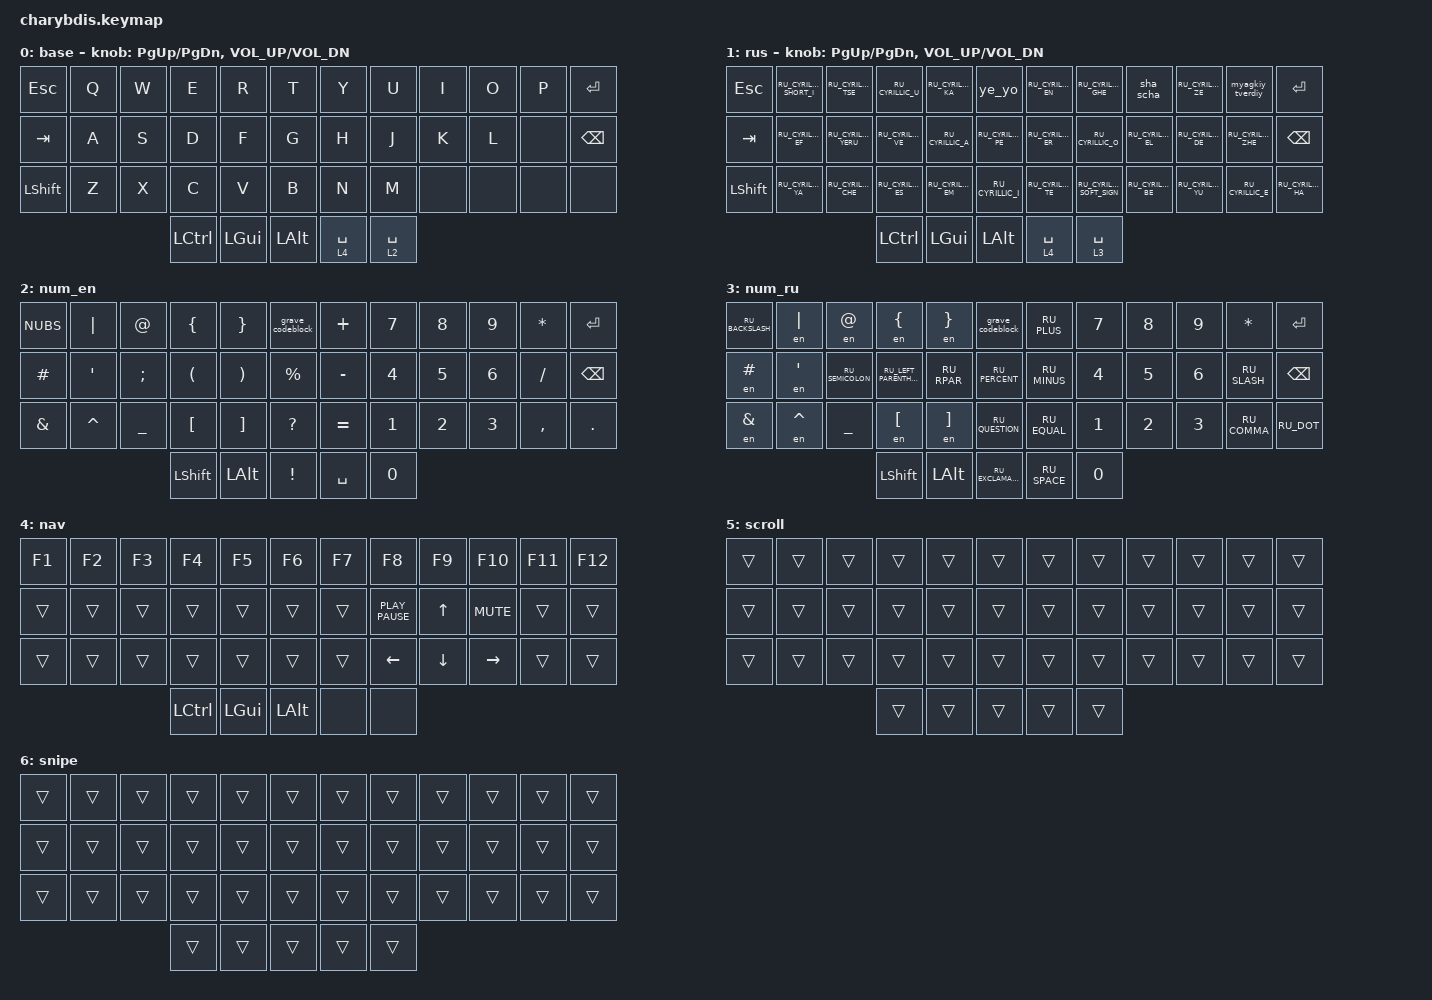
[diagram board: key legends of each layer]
#include "keys_ru.h"
#include <behaviors.dtsi>
#include <dt-bindings/zmk/keys.h>
#include <dt-bindings/zmk/pointing.h>

&lt {
    tapping-term-ms = <200>;
    flavor = "balanced";
    quick-tap-ms = <150>;
};

/ {
    unicode {
        compatible = "zmk,unicode";
        #address-cells = <1>;
        #size-cells = <0>;

        en_dash: en_dash {
            unicode = <0x2013>; /* – */
        };

        laquo: laquo {
            unicode = <0x00AB>; /* « */
        };

        raquo: raquo {
            unicode = <0x00BB>; /* » */
        };
    };

    combos {
        compatible = "zmk,combos";

        CapsWord {
            bindings = <&caps_word>;
            key-positions = <17 18>;
            layers = <0>;
        };

        combo_left_click {
            bindings = <&mkp LCLK>;
            key-positions = <31 32>;
        };

        combo_middle_click {
            bindings = <&mkp MCLK>;
            key-positions = <32 33>;
        };

        combo_right_click {
            bindings = <&mkp RCLK>;
            key-positions = <34 33>;
        };

        scroll {
            bindings = <&tog 5>;
            key-positions = <31 33>;
        };

        snipe {
            bindings = <&tog 6>;
            key-positions = <34 32>;
        };

        num_en {
            bindings = <&tog 2>;
            key-positions = <39 40>;
            layers = <0 2>;
        };

        num_ru {
            bindings = <&tog 3>;
            key-positions = <39 40>;
            layers = <1 3>;
        };

        combo_caps {
            bindings = <&kp CAPS>;
            key-positions = <13 14>;
        };

        combo_to_en_layer {
            bindings = <&to_en_layer>;
            key-positions = <24 38>;
            layers = <1>;
        };

        combo_to_ru_layer {
            bindings = <&to_ru_layer>;
            key-positions = <24 38>;
            layers = <0>;
        };
    };

    macros {
        triple_grave: triple_grave {
            compatible = "zmk,behavior-macro";
            #binding-cells = <0>;
            bindings = <&kp GRAVE &kp GRAVE &kp GRAVE>;
            label = "TRIPLE_GRAVE";
        };

        code_block: code_block {
            compatible = "zmk,behavior-macro";
            #binding-cells = <0>;
            bindings = <&kp GRAVE &kp GRAVE &kp GRAVE &kp ENTER &kp ENTER &kp GRAVE &kp GRAVE &kp GRAVE &kp LEFT &kp LEFT &kp LEFT &kp LEFT>;
            label = "CODE_BLOCK";
        };

        to_ru: to_ru {
            compatible = "zmk,behavior-macro";
            #binding-cells = <0>;
            bindings = <&kp LG(SPACE)>;
            label = "TO_RU";
        };

        to_en: to_en {
            compatible = "zmk,behavior-macro";
            #binding-cells = <0>;
            bindings = <&kp LG(SPACE)>;
            label = "TO_EN";
        };

        en: en {
            compatible = "zmk,behavior-macro-one-param";
            #binding-cells = <1>;
            bindings =
                <&to_en>,
                <&macro_press>,
                <&macro_param_1to1 &kp MACRO_PLACEHOLDER>,
                <&macro_pause_for_release>,
                <&macro_release>,
                <&macro_param_1to1 &kp MACRO_PLACEHOLDER>,
                <&macro_tap>,
                <&to_ru>;

            label = "EN";
        };

        to_en_layer: to_en_layer {
            compatible = "zmk,behavior-macro";
            #binding-cells = <0>;
            bindings =
                <&macro_press>,
                <&kp LEFT_GUI>,
                <&macro_press>,
                <&kp SPACE>,
                <&macro_pause_for_release>,
                <&macro_release>,
                <&kp SPACE>,
                <&macro_release>,
                <&kp LEFT_GUI>,
                <&macro_pause_for_release>,
                <&to 0>;

            label = "TO_EN_LAYER";
        };

        to_ru_layer: to_ru_layer {
            compatible = "zmk,behavior-macro";
            #binding-cells = <0>;
            bindings =
                <&macro_press>,
                <&kp LGUI>,
                <&macro_press>,
                <&kp SPACE>,
                <&macro_pause_for_release>,
                <&macro_release>,
                <&kp SPACE>,
                <&macro_release>,
                <&kp LGUI>,
                <&macro_pause_for_release>,
                <&to 1>;

            label = "TO_RU_LAYER";
        };

        old: old {
            compatible = "zmk,behavior-macro";
            #binding-cells = <0>;
            bindings =
                <&macro_press>,
                <&kp LEFT_ALT>,
                <&macro_press>,
                <&kp LEFT_SHIFT>,
                <&macro_pause_for_release>,
                <&macro_release>,
                <&kp LEFT_SHIFT>,
                <&macro_release>,
                <&kp LEFT_ALT &to 0>;

            label = "OLD";
        };
    };

    behaviors {
        alt_to_caps: alt_to_caps {
            compatible = "zmk,behavior-tap-dance";
            label = "ALT_TO_CAPS";
            #binding-cells = <0>;
            bindings = <&kp LEFT_ALT>, <&caps_word>;
        };

        myagkiy_tverdiy: myagkiy_tverdiy {
            compatible = "zmk,behavior-tap-dance";
            label = "MYAGKIY_TVERDIY";
            #binding-cells = <0>;
            bindings = <&kp RU_CYRILLIC_SOFT_SIGN>, <&kp RU_CYRILLIC_HARD_SIGN>;
        };

        sha_scha: sha_scha {
            compatible = "zmk,behavior-tap-dance";
            label = "SHA_SCHA";
            #binding-cells = <0>;
            bindings = <&kp RU_CYRILLIC_SHA>, <&kp RU_CYRILLIC_SHCHA>;
        };

        ye_yo: ye_yo {
            compatible = "zmk,behavior-tap-dance";
            label = "YE_YO";
            #binding-cells = <0>;
            bindings = <&kp RU_CYRILLIC_IE>, <&kp RU_CYRILLIC_IO>;
        };

        E_HE: E_HE {
            compatible = "zmk,behavior-tap-dance";
            label = "E_HE";
            #binding-cells = <0>;
            bindings = <&kp RU_CYRILLIC_E>, <&kp RU_CYRILLIC_HA>;
        };

        grave_codeblock: grave_codeblock {
            compatible = "zmk,behavior-tap-dance";
            label = "GRAVE_CODEBLOCK";
            #binding-cells = <0>;
            bindings = <&kp GRAVE>, <&triple_grave>, <&code_block>;
        };

        shift_to_ru_layer: shift_to_ru_layer {
            compatible = "zmk,behavior-mod-morph";
            label = "SHIFT_TO_RU_LAYER";
            bindings = <&kp LEFT_SHIFT>, <&to_ru_layer>;

            #binding-cells = <0>;
            mods = <(MOD_LALT)>;
        };

        shift_to_en_layer: shift_to_en_layer {
            compatible = "zmk,behavior-mod-morph";
            label = "SHIFT_TO_EN_LAYER";
            bindings = <&kp LEFT_SHIFT>, <&to_en_layer>;

            #binding-cells = <0>;
            mods = <(MOD_LALT)>;
        };
    };

    keymap {
        compatible = "zmk,keymap";

        base {
            bindings = <
&kp ESCAPE      &kp Q  &kp W  &kp E      &kp R     &kp T           &kp Y        &kp U        &kp I  &kp O  &kp P  &kp ENTER
&kp TAB         &kp A  &kp S  &kp D      &kp F     &kp G           &kp H        &kp J        &kp K  &kp L  &none  &kp BACKSPACE
&kp LEFT_SHIFT  &kp Z  &kp X  &kp C      &kp V     &kp B           &kp N        &kp M        &none  &none  &none  &none
                              &kp LCTRL  &kp LGUI  &kp LEFT_ALT    &lt 4 SPACE  &lt 2 SPACE
            >;

            sensor-bindings = <&inc_dec_kp PG_UP PG_DN &inc_dec_kp C_VOL_UP C_VOL_DN>;
        };

        rus {
            bindings = <
&kp ESCAPE      &kp RU_CYRILLIC_SHORT_I  &kp RU_CYRILLIC_TSE   &kp RU_CYRILLIC_U   &kp RU_CYRILLIC_KA  &ye_yo                &kp RU_CYRILLIC_EN  &kp RU_CYRILLIC_GHE        &sha_scha           &kp RU_CYRILLIC_ZE  &myagkiy_tverdiy     &kp ENTER
&kp TAB         &kp RU_CYRILLIC_EF       &kp RU_CYRILLIC_YERU  &kp RU_CYRILLIC_VE  &kp RU_CYRILLIC_A   &kp RU_CYRILLIC_PE    &kp RU_CYRILLIC_ER  &kp RU_CYRILLIC_O          &kp RU_CYRILLIC_EL  &kp RU_CYRILLIC_DE  &kp RU_CYRILLIC_ZHE  &kp BACKSPACE
&kp LEFT_SHIFT  &kp RU_CYRILLIC_YA       &kp RU_CYRILLIC_CHE   &kp RU_CYRILLIC_ES  &kp RU_CYRILLIC_EM  &kp RU_CYRILLIC_I     &kp RU_CYRILLIC_TE  &kp RU_CYRILLIC_SOFT_SIGN  &kp RU_CYRILLIC_BE  &kp RU_CYRILLIC_YU  &kp RU_CYRILLIC_E    &kp RU_CYRILLIC_HA
                                                               &kp LCTRL           &kp LGUI            &kp LEFT_ALT          &lt 4 SPACE         &lt 3 SPACE
            >;

            sensor-bindings =
                <&inc_dec_kp PG_UP PG_DN>,
                <&inc_dec_kp C_VOL_UP C_VOL_DN>;
        };

        num_en {
            bindings = <
&kp NUBS       &kp PIPE   &kp AT_SIGN  &kp LEFT_BRACE    &kp RIGHT_BRACE        &grave_codeblock    &kp PLUS   &kp NUMBER_7  &kp NUMBER_8  &kp NUMBER_9  &kp ASTERISK  &kp ENTER
&kp HASH       &kp SQT    &kp SEMI     &kp LPAR          &kp RIGHT_PARENTHESIS  &kp PRCNT           &kp MINUS  &kp NUMBER_4  &kp NUMBER_5  &kp NUMBER_6  &kp SLASH     &kp BACKSPACE
&kp AMPERSAND  &kp CARET  &kp UNDER    &kp LEFT_BRACKET  &kp RIGHT_BRACKET      &kp QMARK           &kp EQUAL  &kp NUMBER_1  &kp NUMBER_2  &kp NUMBER_3  &kp COMMA     &kp DOT
                                       &kp LEFT_SHIFT    &kp LEFT_ALT           &kp EXCL            &kp SPACE  &kp NUMBER_0
            >;
        };

        num_ru {
            bindings = <
&kp RU_BACKSLASH  &en PIPE        &en AT_SIGN       &en LEFT_BRACE           &en RIGHT_BRACE    &grave_codeblock      &kp RU_PLUS   &kp NUMBER_7  &kp NUMBER_8  &kp NUMBER_9  &kp ASTERISK  &kp ENTER
&en HASH          &en APOSTROPHE  &kp RU_SEMICOLON  &kp RU_LEFT_PARENTHESIS  &kp RU_RPAR        &kp RU_PERCENT        &kp RU_MINUS  &kp NUMBER_4  &kp NUMBER_5  &kp NUMBER_6  &kp RU_SLASH  &kp BACKSPACE
&en AMPERSAND     &en CARET       &kp UNDER         &en LEFT_BRACKET         &en RIGHT_BRACKET  &kp RU_QUESTION       &kp RU_EQUAL  &kp NUMBER_1  &kp NUMBER_2  &kp NUMBER_3  &kp RU_COMMA  &kp RU_DOT
                                                    &kp LEFT_SHIFT           &kp LEFT_ALT       &kp RU_EXCLAMATION    &kp RU_SPACE  &kp NUMBER_0
            >;
        };

        nav {
            bindings = <
&kp F1  &kp F2  &kp F3  &kp F4     &kp F5    &kp F6      &kp F7  &kp F8            &kp F9    &kp F10     &kp F11  &kp F12
&trans  &trans  &trans  &trans     &trans    &trans      &trans  &kp K_PLAY_PAUSE  &kp UP    &kp K_MUTE  &trans   &trans
&trans  &trans  &trans  &trans     &trans    &trans      &trans  &kp LEFT          &kp DOWN  &kp RIGHT   &trans   &trans
                        &kp LCTRL  &kp LGUI  &kp LALT    &none   &none
            >;
        };

        scroll {
            bindings = <
&trans  &trans  &trans  &trans  &trans  &trans    &trans  &trans  &trans  &trans  &trans  &trans
&trans  &trans  &trans  &trans  &trans  &trans    &trans  &trans  &trans  &trans  &trans  &trans
&trans  &trans  &trans  &trans  &trans  &trans    &trans  &trans  &trans  &trans  &trans  &trans
                        &trans  &trans  &trans    &trans  &trans
            >;
        };

        snipe {
            bindings = <
&trans  &trans  &trans  &trans  &trans  &trans    &trans  &trans  &trans  &trans  &trans  &trans
&trans  &trans  &trans  &trans  &trans  &trans    &trans  &trans  &trans  &trans  &trans  &trans
&trans  &trans  &trans  &trans  &trans  &trans    &trans  &trans  &trans  &trans  &trans  &trans
                        &trans  &trans  &trans    &trans  &trans
            >;
        };

        /* layer_2 {
            bindings = <
&none  &none   &none    &none   &none         &none         &kp N1         &none         &none     &none  &none   &to 0
&none  &none   &none    &none   &none         &none         &none         &none          &rgb_ug RGB_BRD &rgb_ug RGB_BRI  &rgb_ug RGB_EFF   &rgb_ug RGB_TOG
&none  &none   &none    &none   &none         &none         &none         &mkp LCLK     &mkp RCLK  &none  &none   &none
&none  &none   &none    &none   &bt BT_NXT  &bt BT_CLR    &none         &none         &none     &none  &none   &none
                                   &none         &none         &none         &none         &none
                                                 &none         &none         &none
            >;
       
            
        };

       Mouse {
            bindings = <
&none        &none         &none         &none         &none      &none         &none       &none      &none         &none         &none         &none
&none        &bt BT_SEL 0  &bt BT_SEL 1  &bt BT_SEL 3  &none      &bt BT_CLR    &bt BT_CLR  &none      &bt BT_SEL 2  &bt BT_SEL 1  &bt BT_SEL 0  &none
&none        &trans        &trans        &mkp MCLK     &trans     &none         &none       &trans     &mkp MCLK     &trans        &trans        &none
&bootloader  &trans        &mkp RCLK     &mo 4         &mkp LCLK  &mo 5         &mo 5       &mkp LCLK  &mo 4         &mkp RCLK     &trans        &bootloader
                                         &mo 5         &mkp LCLK  &mkp RCLK     &mkp RCLK   &mkp LCLK
                                                       &none      &trans        &trans
            >;

            
        };

        layer_4 {
            bindings = <
&trans  &trans  &trans     &trans     &trans     &trans       &trans     &trans     &trans     &trans     &trans  &trans
&trans  &trans  &trans     &trans     &trans     &trans       &trans     &trans     &trans     &trans     &trans  &trans
&trans  &trans  &trans     &mkp MCLK  &trans     &trans       &trans     &trans     &mkp MCLK  &trans     &trans  &trans
&trans  &trans  &mkp RCLK  &trans     &mkp LCLK  &trans       &trans     &mkp LCLK  &trans     &mkp RCLK  &trans  &trans
                           &trans     &mkp LCLK  &mkp RCLK    &mkp RCLK  &mkp LCLK
                                      &trans     &trans       &trans
            >;
                
                
               
        };

        layer_5 {
            bindings = <
&trans  &trans  &trans     &trans     &trans     &trans       &trans     &trans     &trans     &trans     &trans  &trans
&trans  &trans  &trans     &trans     &trans     &trans       &trans     &trans     &trans     &trans     &trans  &trans
&trans  &trans  &trans     &mkp MCLK  &trans     &trans       &trans     &trans     &mkp MCLK  &trans     &trans  &trans
&trans  &trans  &mkp RCLK  &trans     &mkp LCLK  &trans       &trans     &mkp LCLK  &trans     &mkp RCLK  &trans  &trans
                           &trans     &mkp LCLK  &mkp RCLK    &mkp RCLK  &mkp LCLK
                                      &trans     &trans       &trans
            >;
                
                
        };*/
    };
};
